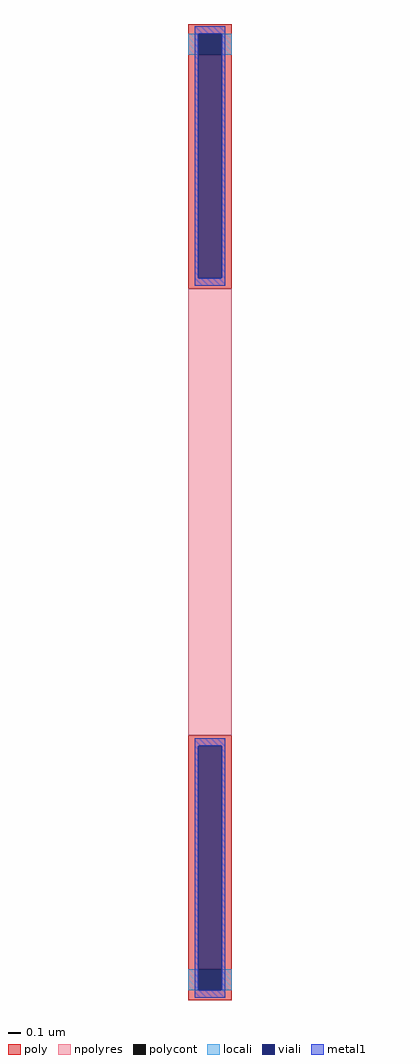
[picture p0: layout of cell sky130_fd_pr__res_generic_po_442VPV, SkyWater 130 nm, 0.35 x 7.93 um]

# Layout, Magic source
magic
tech sky130A
magscale 1 2
<< poly >>
rect -35 777 35 793
rect -35 743 -19 777
rect 19 743 35 777
rect -35 363 35 743
rect -35 -743 35 -363
rect -35 -777 -19 -743
rect 19 -777 35 -743
rect -35 -793 35 -777
<< polycont >>
rect -19 743 19 777
rect -19 -777 19 -743
<< npolyres >>
rect -35 -363 35 363
<< locali >>
rect -35 743 -19 777
rect 19 743 35 777
rect -35 -777 -19 -743
rect 19 -777 35 -743
<< viali >>
rect -19 743 19 777
rect -19 380 19 743
rect -19 -743 19 -380
rect -19 -777 19 -743
<< metal1 >>
rect -25 777 25 789
rect -25 380 -19 777
rect 19 380 25 777
rect -25 368 25 380
rect -25 -380 25 -368
rect -25 -777 -19 -380
rect 19 -777 25 -380
rect -25 -789 25 -777
<< properties >>
string gencell sky130_fd_pr__res_generic_po
string library sky130
string parameters w 0.35 l 3.631 m 1 nx 1 wmin 0.330 lmin 1.650 rho 48.2 val 500.04 dummy 0 dw 0.0 term 0.0 sterm 0.0 caplen 0.4 snake 0 guard 0 glc 1 grc 1 gtc 1 gbc 1 roverlap 0 endcov 100 full_metal 1 hv_guard 0 n_guard 0 vias 1 viagb 0 viagt 0 viagl 0 viagr 0
<< end >>
